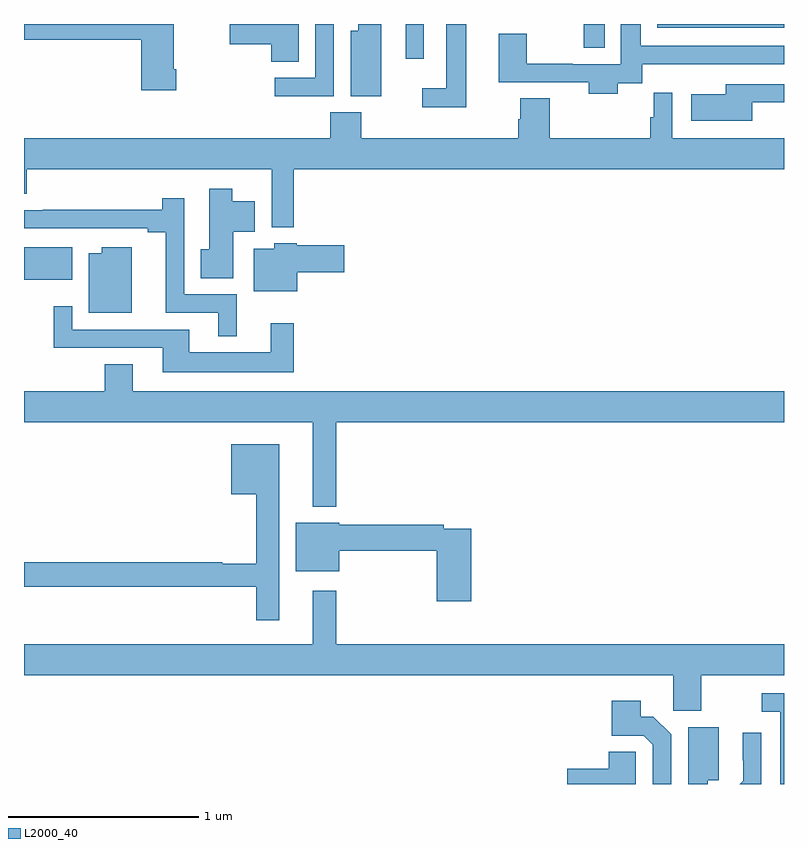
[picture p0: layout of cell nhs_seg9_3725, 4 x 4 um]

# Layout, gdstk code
import gdstk
lib = gdstk.Library(unit=1e-6, precision=1e-09)
def R(c, l, rs):  # rectangles x0, y0, x1, y1
    for r in rs: c.add(gdstk.rectangle(r[:2], r[2:], *l))
def P(c, l, *ps):  # polygons
    for p in ps: c.add(gdstk.Polygon(p, *l))
L2000_40 = (2000, 40)

nhs_seg9_3725 = lib.new_cell('nhs_seg9_3725')
R(nhs_seg9_3725, L2000_40, [(323,1213.154,323.254,1213.324), (325.008,1214.316,325.104,1214.5), (325.947,1214.374,326.056,1214.5), (326.334,1214.481,327,1214.5)])
P(nhs_seg9_3725, L2000_40, [(323.801,1214.263),(323.788,1214.263),(323.788,1214.5),(323,1214.5),(323,1214.416),(323.618,1214.416),(323.618,1214.151),(323.801,1214.151)],
  [(326.125,1214.189),(326.254,1214.189),(326.254,1214.288),(326.523,1214.288),(326.523,1214.289),(327,1214.289),(327,1214.385),(326.245,1214.385),(326.245,1214.5),(326.141,1214.5),(326.141,1214.289),(325.889,1214.289),(325.889,1214.291),(325.647,1214.291),(325.647,1214.449),(325.499,1214.449),(325.499,1214.193),(325.973,1214.193),(325.973,1214.132),(326.125,1214.132)],
  [(325.327,1214.5),(325.223,1214.5),(325.223,1214.161),(325.095,1214.161),(325.095,1214.063),(325.327,1214.063)],
  [(324.445,1214.5),(324.084,1214.5),(324.084,1214.393),(324.302,1214.393),(324.302,1214.302),(324.445,1214.302)],
  [(324.88,1214.5),(324.758,1214.5),(324.758,1214.464),(324.719,1214.464),(324.719,1214.121),(324.88,1214.121)],
  [(324.63,1214.5),(324.534,1214.5),(324.534,1214.217),(324.321,1214.217),(324.321,1214.121),(324.63,1214.121)],
  [(326.833,1214.088),(327,1214.088),(327,1214.184),(326.693,1214.184),(326.693,1214.131),(326.511,1214.131),(326.511,1213.991),(326.833,1213.991)],
  [(324.419,1213.736),(327,1213.736),(327,1213.9),(326.412,1213.9),(326.412,1214.137),(326.315,1214.137),(326.315,1214.01),(326.296,1214.01),(326.296,1213.9),(325.766,1213.9),(325.766,1214.108),(325.613,1214.108),(325.613,1213.998),(325.601,1213.998),(325.601,1213.9),(324.776,1213.9),(324.776,1214.035),(324.611,1214.035),(324.611,1213.9),(323,1213.9),(323,1213.606),(323.015,1213.606),(323.015,1213.736),(324.303,1213.736),(324.303,1213.43),(324.419,1213.43)],
  [(324.1,1213.406),(324.214,1213.406),(324.214,1213.567),(324.097,1213.567),(324.097,1213.633),(323.975,1213.633),(323.975,1213.314),(323.929,1213.314),(323.929,1213.162),(324.1,1213.162)],
  [(324.121,1213.077),(323.844,1213.077),(323.844,1213.582),(323.728,1213.582),(323.728,1213.523),(323.098,1213.523),(323.098,1213.521),(323,1213.521),(323,1213.425),(323.651,1213.425),(323.651,1213.405),(323.747,1213.405),(323.747,1212.981),(324.023,1212.981),(324.023,1212.857),(324.121,1212.857)],
  [(324.439,1213.193),(324.685,1213.193),(324.685,1213.335),(324.435,1213.335),(324.435,1213.345),(324.318,1213.345),(324.318,1213.318),(324.209,1213.318),(324.209,1213.094),(324.439,1213.094)],
  [(323.566,1213.324),(323.408,1213.324),(323.408,1213.294),(323.342,1213.294),(323.342,1212.98),(323.566,1212.98)],
  [(324.421,1212.925),(324.299,1212.925),(324.299,1212.772),(323.869,1212.772),(323.869,1212.891),(323.253,1212.891),(323.253,1213.015),(323.156,1213.015),(323.156,1212.795),(323.729,1212.795),(323.729,1212.668),(324.421,1212.668)],
  [(324.643,1212.404),(327,1212.404),(327,1212.568),(323.572,1212.568),(323.572,1212.71),(323.425,1212.71),(323.425,1212.568),(323,1212.568),(323,1212.404),(324.521,1212.404),(324.521,1211.96),(324.643,1211.96)],
  [(324.343,1212.289),(324.092,1212.289),(324.092,1212.026),(324.222,1212.026),(324.222,1211.659),(324.043,1211.659),(324.043,1211.666),(323,1211.666),(323,1211.538),(324.222,1211.538),(324.222,1211.361),(324.343,1211.361)],
  [(325.355,1211.844),(325.208,1211.844),(325.208,1211.864),(324.658,1211.864),(324.658,1211.875),(324.431,1211.875),(324.431,1211.621),(324.658,1211.621),(324.658,1211.728),(325.172,1211.728),(325.172,1211.463),(325.355,1211.463)],
  [(326.565,1211.072),(327,1211.072),(327,1211.236),(324.643,1211.236),(324.643,1211.518),(324.521,1211.518),(324.521,1211.236),(323,1211.236),(323,1211.072),(326.418,1211.072),(326.418,1210.885),(326.565,1210.885)],
  [(327,1210.977),(326.883,1210.977),(326.883,1210.881),(326.981,1210.881),(326.981,1210.5),(327,1210.5)],
  [(326.406,1210.761),(326.313,1210.854),(326.245,1210.854),(326.245,1210.939),(326.093,1210.939),(326.093,1210.755),(326.262,1210.755),(326.31,1210.707),(326.31,1210.5),(326.406,1210.5)],
  [(326.599,1210.521),(326.656,1210.521),(326.656,1210.8),(326.495,1210.8),(326.495,1210.5),(326.599,1210.5)],
  [(326.88,1210.771),(326.784,1210.771),(326.784,1210.624),(326.786,1210.624),(326.786,1210.518),(326.768,1210.5),(326.88,1210.5)],
  [(326.221,1210.562),(326.22,1210.562),(326.22,1210.67),(326.078,1210.67),(326.078,1210.58),(325.86,1210.58),(325.86,1210.5),(326.221,1210.5)])

lib.write_gds('nhs_seg9_3725.gds')
